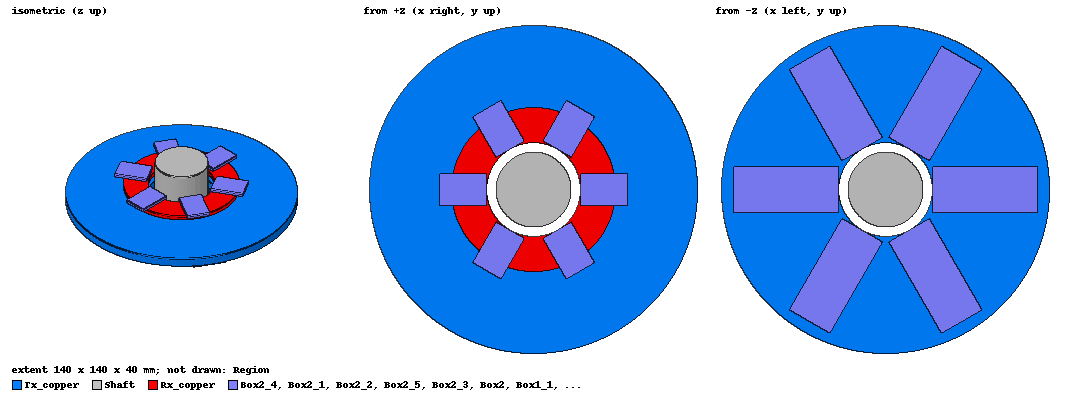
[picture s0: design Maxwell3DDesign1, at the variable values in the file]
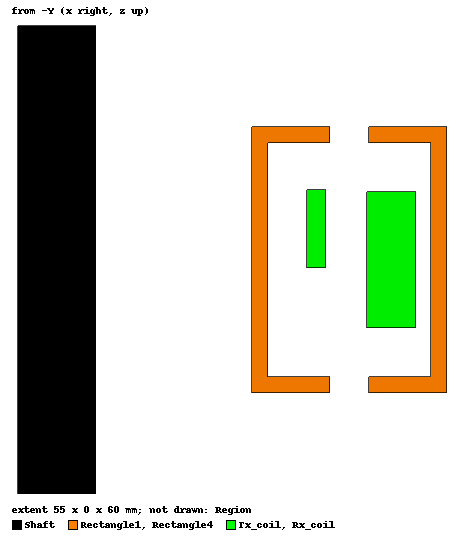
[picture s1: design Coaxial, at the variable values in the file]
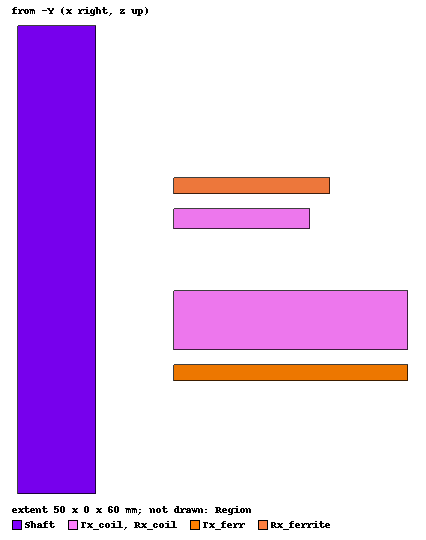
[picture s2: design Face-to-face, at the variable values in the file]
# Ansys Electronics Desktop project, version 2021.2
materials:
  vacuum: permittivity=1
  steel_1008: permeability{HUnit=A_per_meter BUnit=tesla curve (0, 0) (159.2, 0.2402) (318.3, 0.8654) (477.5, 1.1106) (636.6, 1.2458) (795.8, 1.331) (1591.5, 1.5) (3183.1, 1.6) (4774.6, 1.683) (6366.2, 1.741) (7957.7, 1.78) (15915.5, 1.905) (31831, 2.025) (47746.5, 2.085) (63662, 2.13) (79577.5, 2.165) (159155, 2.28) (318310, 2.485) (397887, 2.5851)} conductivity=2000000
  ferrite: permittivity=12 permeability=1000 conductivity=0.01
  copper: permeability=0.999991 conductivity=58000000

design Maxwell3DDesign1 (Maxwell 3D, Magnetostatic, model units mm)
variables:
  shaft_radius = 16mm
  shaft_height = 40mm
  r_inner_Rx = 20mm
  w_Rx_copper = 2.5mm
  layer_Rx = 1
  airgap = 4mm
  Nrx = 6
  f2Rx = 2mm
  w_Rx_fer = 14mm
  h_Rx_fer = 2mm
  L_Rx_fer = 20mm
  r_inner_Tx = 20mm
  w_Tx_copper = 1.25mm
  Ntx = 120
  layer_Tx = 3
  w_Tx_fer = 20mm
  f2Tx = 2mm
  h_Tx_fer = 2mm
  L_Tx_fer = 45mm
  rotation = 0deg
  Irx = 15*Nrx
  coeffTx = 1.5
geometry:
  Shaft [steel_1008] = cylinder(axis=Z, base_centre=(0mm, 0mm, -shaft_height/2), radius=shaft_radius, height=shaft_height)
  Cylinder1 = cylinder(axis=Z, base_centre=(0mm, 0mm, airgap/2), radius=r_inner_Rx, height=w_Rx_copper*layer_Rx)
  Rx_copper [copper] = cylinder(axis=Z, base_centre=(0mm, 0mm, airgap/2), radius=r_inner_Rx+((w_Rx_copper*Nrx)/layer_Rx), height=w_Rx_copper*layer_Rx)
  Rx_copper.subtract(Cylinder1)
  Box1 [ferrite] = box(corner=(r_inner_Rx, -w_Rx_fer/2, (airgap/2)+(w_Rx_copper*layer_Rx)+f2Rx), size=(L_Rx_fer, w_Rx_fer, h_Rx_fer))
  Box1_1..Box1_5 [ferrite] = Box1.duplicate_around_axis(axis=Z, angle=60deg, total=6)
  Tx_copper [copper] = cylinder(axis=Z, base_centre=(0mm, 0mm, -airgap/2), radius=r_inner_Tx+((w_Tx_copper*Ntx)/layer_Tx), height=-w_Tx_copper*layer_Tx*coeffTx)
  Cylinder2 = cylinder(axis=Z, base_centre=(0mm, 0mm, -airgap/2), radius=r_inner_Tx, height=-w_Tx_copper*layer_Tx*coeffTx)
  Tx_copper.subtract(Cylinder2)
  Box2 [ferrite] = box(corner=(r_inner_Tx, -w_Tx_fer/2, -(airgap/2)-(w_Tx_copper*layer_Tx*coeffTx)-f2Tx), size=(L_Tx_fer, w_Tx_fer, -h_Tx_fer))
  Box2.rotate(axis=Z, angle=rotation)
  Box2_1..Box2_5 [ferrite] = Box2.duplicate_around_axis(axis=Z, angle=60deg, total=6)
  Rx_copper_Section1 = Rx_copper.section(plane=YZ)
  Tx_copper_Section1 [copper] = Tx_copper.section(plane=YZ)
  Rx_copper_Section1_1 [copper] = Rx_copper_Section1.separate_bodies()
  Rx_copper_Section1.delete()
  Tx_copper_Section1.separate_bodies()
  Region [vacuum] = region(percentage_offset=100 on all sides)
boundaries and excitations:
  ZeroTangentialHField1: Zero Tangential H Field Faces=Region.face(all 6)
  Itx: Current Objects=Tx_copper_Section1 Current=2*Ntx IsSolid=false Point_out_of_terminal=false
  Irx: Current Objects=Rx_copper_Section1_1 Current=Irx IsSolid=false Point_out_of_terminal=false
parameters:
  Matrix1: Matrix Irx: NumberOfTurns=Nrx; Itx: NumberOfTurns=Ntx
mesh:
  initial mesh: GlobalCurvilinear{Apply}
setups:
  Setup1: Magnetostatic MaximumPasses=10 MinimumPasses=2 MinimumConvergedPasses=1 PercentRefinement=30 PercentError=1 NonLinearResidual=0.001
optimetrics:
  ParametricSetup1: Parametric Sim._Setups=[Setup1]
    sweep airgap: LINC 5mm 15mm 5
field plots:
  B_Vector1: B on Setup1 : LastAdaptive

design Coaxial (Maxwell 2D, Magnetostatic, about Z geometry, model units mm)
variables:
  r_sh = 10mm
  h_sh = 60mm
  f2sh = 20mm
  w_f_Rx = 2mm
  h_f_Rx = 30mm
  w_c_Rx = 2.5mm
  layer_Rx = 1
  Nrx = 4
  f2Rx = 5mm
  w_f_side_Rx = 10mm
  h_f_side_Rx = 2mm
  airgap = 5mm
  w_f_Tx = 2mm
  w_c_Tx = 1.25mm
  Ntx = 70
  layer_Tx = 5
  f2Tx = 2mm
  misRx = 4mm
  misTx = 0mm
  Irx = 0
  Itx = 2*Ntx
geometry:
  Shaft [steel_1008] = rectangle(corner=(0mm, 0mm, -h_sh/2), z_size=h_sh, x_size=r_sh)
  Rx_ferrite = rectangle(corner=(r_sh+f2sh, 0mm, -h_f_Rx/2), z_size=h_f_Rx, x_size=w_f_Rx)
  Rx_coil [copper] = rectangle(corner=(r_sh+f2sh+w_f_Rx+f2Rx, 0mm, -(w_c_Rx*Nrx/layer_Rx)/2 + misRx), z_size=w_c_Rx*Nrx/layer_Rx, x_size=w_c_Rx*layer_Rx)
  Rectangle1 [ferrite] = rectangle(corner=(r_sh+f2sh+w_f_Rx-w_f_Rx, 0mm, h_f_Rx/2), z_size=h_f_side_Rx, x_size=w_f_side_Rx)
  Rectangle2 = rectangle(corner=(r_sh+f2sh+w_f_Rx-w_f_Rx, 0mm, -h_f_Rx/2), z_size=-h_f_side_Rx, x_size=w_f_side_Rx)
  Rectangle3 = rectangle(corner=(r_sh+f2sh+w_f_side_Rx+airgap+w_f_Tx-w_f_Rx, 0mm, -h_f_Rx/2), z_size=-h_f_side_Rx, x_size=w_f_side_Rx)
  Rectangle4 [ferrite] = rectangle(corner=(r_sh+f2sh+w_f_side_Rx+airgap+w_f_Tx-w_f_Rx, 0mm, h_f_Rx/2), z_size=h_f_side_Rx, x_size=w_f_side_Rx)
  Rx_ferrite1 = rectangle(corner=(r_sh+f2sh+w_f_side_Rx+airgap+w_f_side_Rx-w_f_Rx, 0mm, -h_f_Rx/2), z_size=h_f_Rx, x_size=w_f_Tx)
  Tx_coil [copper] = rectangle(corner=(r_sh+f2sh+w_f_side_Rx+airgap+w_f_side_Rx-w_f_Rx-f2Tx, 0mm, -(w_c_Tx*Ntx/layer_Tx)/2+misTx), z_size=w_c_Tx*Ntx/layer_Tx, x_size=-w_c_Tx*layer_Tx)
  Rectangle1.unite(Rx_ferrite, Rectangle2)
  Rectangle4.unite(Rx_ferrite1, Rectangle3)
  Region [vacuum] = region(percentage_offset: +X=100, -X=100, +Y=0, -Y=0, +Z=100, -Z=100)
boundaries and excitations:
  Balloon1: Balloon Edges=Region.edge(all 4)
  currentRx: Current Objects=Rx_coil Current=Irx IsPositive=true
  currentTx: Current Objects=Tx_coil Current=Itx IsPositive=true
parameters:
  Matrix1: Matrix currentRx: NumberOfTurns=Nrx; currentTx: NumberOfTurns=Ntx
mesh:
  initial mesh: MeshMethod=AnsoftTAU
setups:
  Setup1: Magnetostatic MaximumPasses=10 MinimumPasses=2 MinimumConvergedPasses=1 PercentRefinement=30 PercentError=1 NonLinearResidual=0.0001
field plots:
  B_Vector1: B over Shaft, Rx_coil, Rectangle1, Rectangle4, Tx_coil, Region on Setup1 : LastAdaptive
  Flux_Lines1: A over Shaft, Rx_coil, Rectangle1, Rectangle4, Tx_coil, Region on Setup1 : LastAdaptive

design Face-to-face (Maxwell 2D, Magnetostatic, about Z geometry, model units mm)
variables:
  shaft_radius = 10mm
  shaft_length = 60mm
  wRxCopper = 2.5mm
  layer_Rx = 1
  Nrx = 7
  r_inner_Rx = 20mm
  airgap = 8mm
  f2Rx = 2mm
  wTxCopper = 1.25mm
  Ntx = 144
  layer_Tx = 6
  f2Tx = 2mm
  w_Rx_fer = 2mm
  h_Rx_fer = 20mm
  w_Tx_fer = 2mm
  h_Tx_fer = 30mm
  Irx = 15*Nrx
  Itx = 2*Ntx
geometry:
  Shaft [steel_1008] = rectangle(corner=(0mm, 0mm, -shaft_length/2), z_size=shaft_length, x_size=shaft_radius)
  Rx_coil [copper] = rectangle(corner=(r_inner_Rx, 0mm, airgap/2), z_size=wRxCopper*layer_Rx, x_size=wRxCopper*Nrx/layer_Rx)
  Rx_ferrite [ferrite] = rectangle(corner=(r_inner_Rx, 0mm, (airgap/2)+wRxCopper*layer_Rx+f2Rx), z_size=w_Rx_fer, x_size=h_Rx_fer)
  Tx_coil [copper] = rectangle(corner=(r_inner_Rx, 0mm, -airgap/2), z_size=-wTxCopper*layer_Tx, x_size=wTxCopper*Ntx/layer_Tx)
  Tx_ferr [ferrite] = rectangle(corner=(r_inner_Rx, 0mm, (-airgap/2)-wTxCopper*layer_Tx-f2Tx), z_size=-w_Tx_fer, x_size=h_Tx_fer)
  Region [vacuum] = region(percentage_offset: +X=100, -X=100, +Y=0, -Y=0, +Z=100, -Z=100)
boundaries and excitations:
  Balloon1: Balloon Edges=Region.edge(all 4)
  Irx: Current Objects=Rx_coil Current=Irx IsPositive=true
  Itx: Current Objects=Tx_coil Current=Itx IsPositive=true
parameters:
  Matrix1: Matrix Irx: NumberOfTurns=Nrx; Itx: NumberOfTurns=Ntx
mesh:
  initial mesh: MeshMethod=AnsoftTAU
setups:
  Setup1: Magnetostatic MaximumPasses=10 MinimumPasses=2 MinimumConvergedPasses=1 PercentRefinement=30 PercentError=1 NonLinearResidual=0.0001
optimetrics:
  ParametricSetup1: Parametric Sim._Setups=[Setup1]
    sweep airgap: LIN 4mm 8mm 1mm
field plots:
  B_Vector1: B over Shaft, Rx_coil, Rx_ferrite, Tx_coil, Tx_ferr, Region on Setup1 : LastAdaptive
